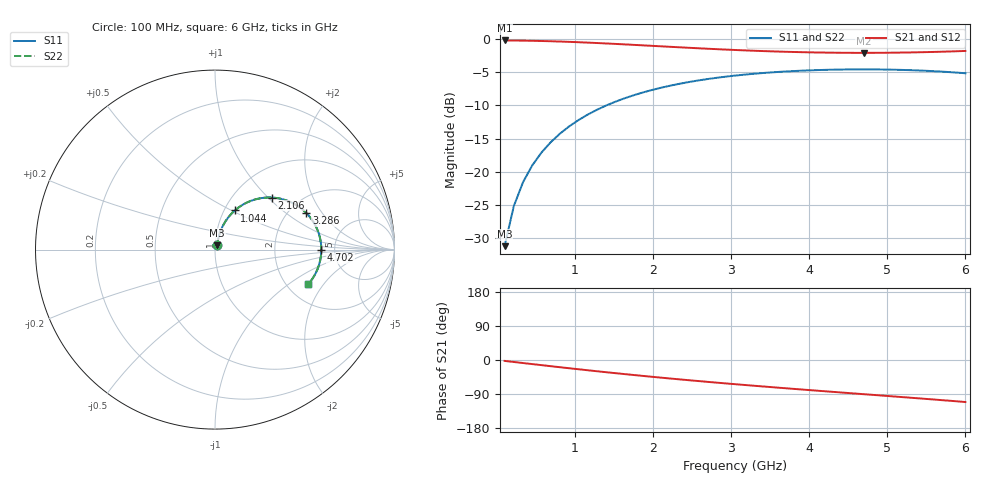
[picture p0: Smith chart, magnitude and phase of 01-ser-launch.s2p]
! UNVERIFIED synthetic. Does not qualify hardware.
! MAX96717 launch. Package/pad map UNVERIFIED.
# Hz S RI R 50
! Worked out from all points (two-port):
!   51 points, 100 MHz to 6 GHz, reference 50 ohm
!   highest |S21| = -0.18 dB at 100 MHz (marker M1); lowest = -2.0 dB at 4.702 GHz (marker M2)
!   |S21| within 3 dB of the highest: start of sweep to end of sweep
!   lowest |S11| = -31.3 dB at 100 MHz (marker M3), VSWR 1.06, Z = 51.2 + j2.47 ohm
!   |S11| at or under -10 dB: start of sweep to 1.402 GHz
!   |S22| runs from -31.3 to -4.5 dB; largest |S21 - S12| = 0
!   S11 on the Smith chart (normalised r, x): 100 MHz: 1.02, +0.05; 1.044 GHz: 1.12, +0.52; 2.106 GHz: 1.49, +1.06; 3.286 GHz: 2.48, +1.44; 4.702 GHz: 3.91, -0.03; 6 GHz: 2.58, -1.44
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1e8  0.0128 0.0241  0.9791 -0.0408  0.9791 -0.0408  0.0128 0.0241
2.18e8  0.0165 0.0523  0.9748 -0.0886  0.9748 -0.0886  0.0165 0.0523
3.36e8  0.023 0.08  0.9674 -0.1359  0.9674 -0.1359  0.023 0.08
4.54e8  0.0321 0.1067  0.957 -0.1823  0.957 -0.1823  0.0321 0.1067
5.72e8  0.0436 0.1323  0.9438 -0.2275  0.9438 -0.2275  0.0436 0.1323
6.9e8  0.0575 0.1564  0.9278 -0.2713  0.9278 -0.2713  0.0575 0.1564
8.08e8  0.0735 0.1789  0.9093 -0.3135  0.9093 -0.3135  0.0735 0.1789
1.044e9  0.1107 0.2183  0.8658 -0.3924  0.8658 -0.3924  0.1107 0.2183
1.162e9  0.1315 0.2349  0.8412 -0.4287  0.8412 -0.4287  0.1315 0.2349
1.398e9  0.1762 0.2616  0.7876 -0.4951  0.7876 -0.4951  0.1762 0.2616
1.634e9  0.2235 0.2795  0.7297 -0.5527  0.7297 -0.5527  0.2235 0.2795
1.87e9  0.2714 0.2887  0.6692 -0.6019  0.6692 -0.6019  0.2714 0.2887
2.106e9  0.3186 0.2899  0.6075 -0.6432  0.6075 -0.6432  0.3186 0.2899
2.578e9  0.4061 0.2711  0.4846 -0.7051  0.4846 -0.7051  0.4061 0.2711
3.05e9  0.4793 0.2299  0.3664 -0.7451  0.3664 -0.7451  0.4793 0.2299
3.286e9  0.5095 0.2031  0.3097 -0.7589  0.3097 -0.7589  0.5095 0.2031
3.758e9  0.556 0.1408  0.2011 -0.7775  0.2011 -0.7775  0.556 0.1408
4.112e9  0.5785 0.0887  0.1229 -0.7853  0.1229 -0.7853  0.5785 0.0887
4.702e9  0.5924 -0.00278  -0.00379 -0.7898  -0.00379 -0.7898  0.5924 -0.00278
5.056e9  0.5866 -0.058  -0.0795 -0.7879  -0.0795 -0.7879  0.5866 -0.058
5.528e9  0.5622 -0.1289  -0.1826 -0.7797  -0.1826 -0.7797  0.5622 -0.1289
6e9  0.519 -0.193  -0.2903 -0.763  -0.2903 -0.763  0.519 -0.193
